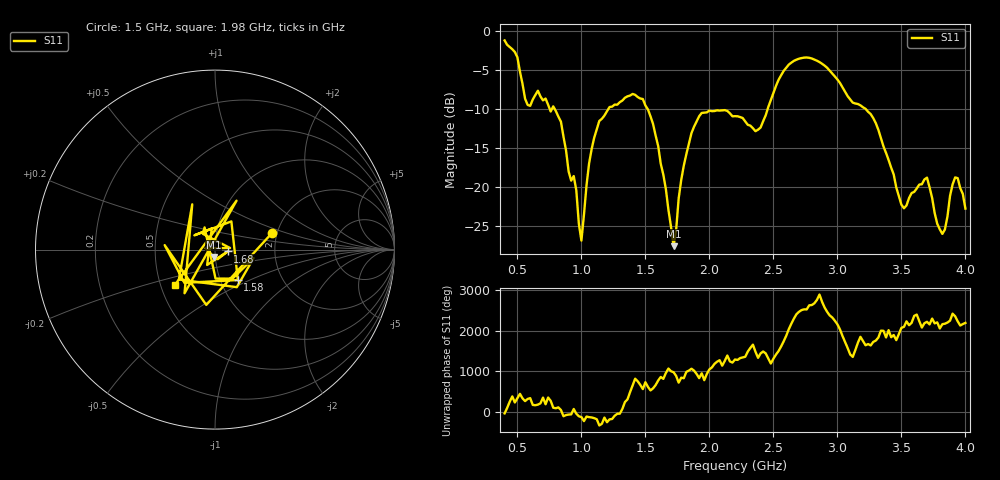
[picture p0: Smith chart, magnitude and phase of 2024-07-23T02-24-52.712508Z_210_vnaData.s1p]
!Created with skrf (http://scikit-rf.org).
# Hz S RI R 50.0
!freq ReS11 ImS11
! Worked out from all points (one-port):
!   181 points, 400 MHz to 4 GHz, reference 50 ohm
!   lowest |S11| = -27.6 dB at 1.72 GHz (marker M1), VSWR 1.09, Z = 49.2 - j4.04 ohm
!   |S11| at or under -10 dB: 789.6 MHz to 1.213 GHz (422.9 MHz wide, 42.2 % of centre); 1.515 GHz to 2.456 GHz (940.8 MHz wide, 47.4 % of centre); 3.217 GHz to end of sweep (the widest 3 of 4)
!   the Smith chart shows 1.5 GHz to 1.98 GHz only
!   S11 on the Smith chart (normalised r, x): 1.5 GHz: 1.88, +0.39; 1.58 GHz: 1.21, -0.43; 1.68 GHz: 1.15, -0.02; 1.98 GHz: 0.59, -0.26
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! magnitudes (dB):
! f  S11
! 400 MHz  -1.3
! 500 MHz  -3.4
! 580 MHz  -9.5
! 660 MHz  -7.7
! 860 MHz  -13.6
! 960 MHz  -20.4
! 1 GHz  -26.9
! 1.1 GHz  -13.7
! 1.3 GHz  -9.2
! 1.5 GHz  -9.6
! 1.58 GHz  -13.5
! 1.68 GHz  -23.0
! 1.72 GHz  -27.6
! 1.76 GHz  -21.5
! 1.86 GHz  -13.1
! 1.98 GHz  -10.5
! 2.2 GHz  -11.0
! 2.4 GHz  -12.4
! 2.66 GHz  -3.9
! 2.88 GHz  -4.3
! 3.1 GHz  -8.8
! 3.28 GHz  -11.2
! 3.5 GHz  -22.3
! 3.56 GHz  -21.4
! 3.7 GHz  -18.8
! 3.82 GHz  -26.1
! 3.92 GHz  -18.8
! 4 GHz  -22.8
